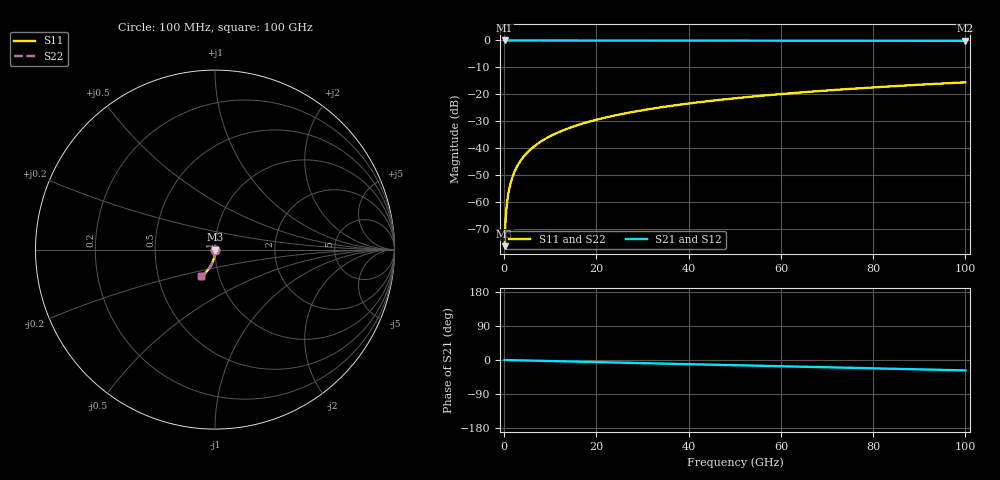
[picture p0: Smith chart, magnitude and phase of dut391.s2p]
! Touchstone file exported from HFSS 2026.1.0
!  File:  C:/ffzhzh/LocalFiles/Ansys_Project_Files/temp_train_TSV_391_1783510699_55944.aedt
!  Generated:  07:39:24 PM Jul  8, 2026
!  Design:  TSV
!  Project:  temp_train_TSV_391_1783510699_55944
! Variables:
!  h_bsmrdl = 2um
!  h_ox = 20um
!  h_rdl = 5um
!  h_sub = 50.05um
!  h_tmrdl = 5um
!  h_tsv = 50.05um
!  h_via = 3um
!  l_bsmrdl = 300um
!  l_sub = 429.64um
!  l_tmrdl = 200um
!  m_sub = 200um
!  pitch = 43.48um
!  r_tsv = 14.82um
!  s_tmrdl = 10um
!  w_bsmrdl = 18um
!  w_sub = 500um
!  w_tmrdl = 12um
!  x_tsv_center1 = 206um
!  x_tsv_center2 = 524um
!  x_tsv_center3 = 736um
!  x_tsv_center4 = 1054um
!  x_tsv_center5 = 1266um
!  x_tsv_center6 = 1584um
# GHz S MA R 50.000000
! Terminal data exported
! Port[1] = TSV1_1_T1
! Port[2] = TSV1_1_T2
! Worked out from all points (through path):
!   1000 points, 100 MHz to 100 GHz, reference 50 ohm
!   highest |S21| = 0.00 dB at 100 MHz (marker M1); lowest = -0.1 dB at 100 GHz (marker M2)
!   group delay of S21, straight-line fit = 762 fs
!   lowest |S11| = -76.5 dB at 100 MHz (marker M3), VSWR 1.00, Z = 50 - j0.0138 ohm
!   |S11| at or under -10 dB: start of sweep to end of sweep
!   |S22| runs from -76.5 to -15.6 dB; largest |S21 - S12| = 2.8e-15
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0.1  0.0001492 -67.8  0.9999 -0.0  0.9999 -0.0  0.0001492 -67.8
! Gamma 0 0 0 0
! Port Impedance 50 0 50 0
0.3  0.0004355 -79.2  0.9999 -0.1  0.9999 -0.1  0.0004355 -79.2
0.7  0.001069 -82.8  0.9999 -0.2  0.9999 -0.2  0.001069 -82.8
0.8  0.001232 -83.4  0.9999 -0.2  0.9999 -0.2  0.001232 -83.4
1  0.001558 -84.2  0.9998 -0.3  0.9998 -0.3  0.001558 -84.2
1.3  0.00205 -85.2  0.9998 -0.4  0.9998 -0.4  0.00205 -85.2
1.7  0.002707 -86.0  0.9998 -0.5  0.9998 -0.5  0.002707 -86.0
2.3  0.003696 -86.9  0.9997 -0.6  0.9997 -0.6  0.003696 -86.9
2.9  0.00469 -87.4  0.9997 -0.8  0.9997 -0.8  0.00469 -87.4
3.7  0.006023 -88.1  0.9997 -1.0  0.9997 -1.0  0.006023 -88.1
4.7  0.007696 -88.7  0.9996 -1.3  0.9996 -1.3  0.007696 -88.7
5.8  0.00954 -89.3  0.9996 -1.6  0.9996 -1.6  0.00954 -89.3
8.6  0.01425 -90.5  0.9994 -2.4  0.9994 -2.4  0.01425 -90.5
12.2  0.02031 -91.7  0.9992 -3.4  0.9992 -3.4  0.02031 -91.7
16.8  0.02808 -93.2  0.9989 -4.6  0.9989 -4.6  0.02808 -93.2
24.2  0.04058 -95.5  0.9984 -6.7  0.9984 -6.7  0.04058 -95.5
33.4  0.0561 -98.2  0.9974 -9.2  0.9974 -9.2  0.0561 -98.2
41.2  0.06923 -100.5  0.9965 -11.3  0.9965 -11.3  0.06923 -100.5
50.1  0.08417 -103.0  0.9952 -13.8  0.9952 -13.8  0.08417 -103.0
66.7  0.1119 -107.6  0.9923 -18.3  0.9923 -18.3  0.1119 -107.6
83.4  0.1394 -112.3  0.9886 -22.9  0.9886 -22.9  0.1394 -112.3
100  0.1663 -117.0  0.9841 -27.5  0.9841 -27.5  0.1663 -117.0
